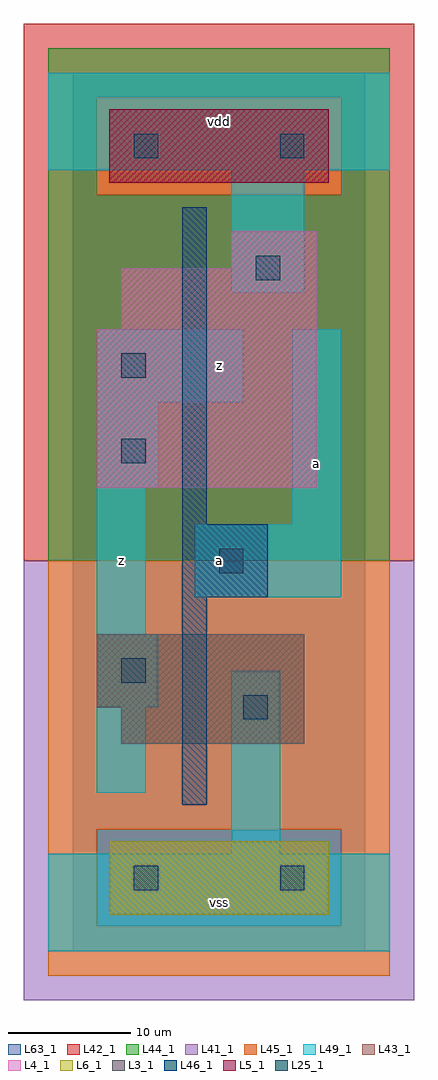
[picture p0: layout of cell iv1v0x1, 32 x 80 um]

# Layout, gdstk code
import gdstk
lib = gdstk.Library(unit=1e-6, precision=1e-09)
def R(c, l, rs):  # rectangles x0, y0, x1, y1
    for r in rs: c.add(gdstk.rectangle(r[:2], r[2:], *l))
L3_1 = (3, 1)
L4_1 = (4, 1)
L5_1 = (5, 1)
L6_1 = (6, 1)
L25_1 = (25, 1)
L41_1 = (41, 1)
L42_1 = (42, 1)
L43_1 = (43, 1)
L44_1 = (44, 1)
L45_1 = (45, 1)
L46_1 = (46, 1)
L49_1 = (49, 1)
L63_1 = (63, 1)

iv1v0x1 = lib.new_cell('iv1v0x1')
R(iv1v0x1, L3_1, [(4,17,19,20), (2,20,19,26)])
R(iv1v0x1, L4_1, [(2,38,20,51), (4,51,20,56), (13,56,20,59)])
R(iv1v0x1, L5_1, [(3,63,21,69)])
R(iv1v0x1, L6_1, [(3,3,21,9), (3,3,21,9)])
R(iv1v0x1, L25_1, [(5,5,7,7), (17,5,19,7), (14,19,16,21), (4,22,6,24), (12,31,14,33), (4,40,6,42), (4,47,6,49), (15,55,17,57), (5,65,7,67), (17,65,19,67)])
R(iv1v0x1, L41_1, [(-4,-4,28,32)])
R(iv1v0x1, L42_1, [(-4,32,28,76)])
R(iv1v0x1, L43_1, [(3,3,21,9), (4,17,19,20), (2,20,19,26), (2,38,20,51), (4,51,20,56), (13,56,20,59), (3,63,21,69)])
R(iv1v0x1, L44_1, [(2,2,22,10), (-2,32,26,62), (-2,62,2,70), (22,62,26,70), (-2,70,26,74)])
R(iv1v0x1, L45_1, [(-2,-2,26,2), (-2,2,2,10), (22,2,26,10), (-2,10,26,32), (2,62,22,70)])
R(iv1v0x1, L46_1, [(9,12,11,29), (9,29,16,35), (9,35,11,61)])
R(iv1v0x1, L49_1, [(-2,0,26,8), (13,8,17,23), (2,13,6,20), (2,20,7,26), (2,26,6,38), (10,29,22,35), (18,35,22,51), (2,38,7,45), (2,45,14,51), (13,54,19,64), (-2,64,26,72)])
R(iv1v0x1, L63_1, [(0,0,24,72)])
iv1v0x1.add(gdstk.Label('z', (4,32), layer=49, texttype=1))
iv1v0x1.add(gdstk.Label('vss', (12,4), layer=49, texttype=1))
iv1v0x1.add(gdstk.Label('a', (12,32), layer=49, texttype=1))
iv1v0x1.add(gdstk.Label('z', (12,48), layer=49, texttype=1))
iv1v0x1.add(gdstk.Label('vdd', (12,68), layer=49, texttype=1))
iv1v0x1.add(gdstk.Label('a', (20,40), layer=49, texttype=1))

lib.write_gds('iv1v0x1.gds')
